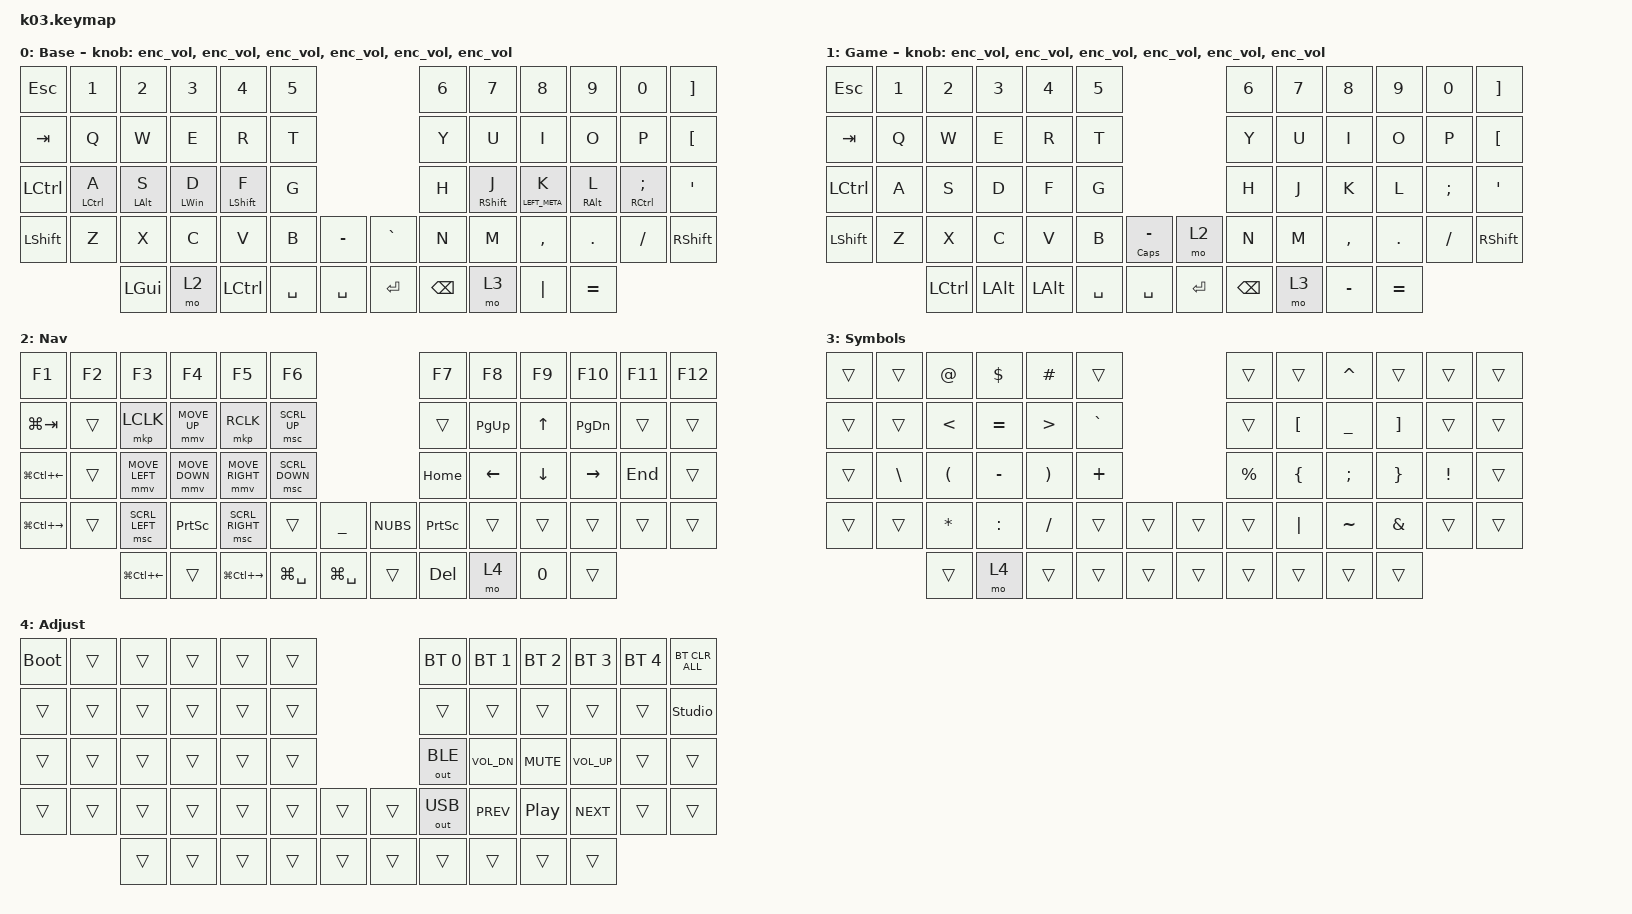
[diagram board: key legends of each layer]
#include "keys_ru.h"
#include <behaviors.dtsi>
#include <dt-bindings/zmk/bt.h>
#include <dt-bindings/zmk/keys.h>
#include <dt-bindings/zmk/outputs.h>
#include <dt-bindings/zmk/pointing.h>

/ {
    behaviors {
        enc_vol: enc_vol {
            compatible = "zmk,behavior-sensor-rotate";
            label = "ENC_VOL";
            #sensor-binding-cells = <0>;
            bindings = <&kp C_VOL_UP>, <&kp C_VOL_DN>;
        };

        hml: home_row_mod_left {
            compatible = "zmk,behavior-hold-tap";
            #binding-cells = <2>;
            flavor = "balanced";
            require-prior-idle-ms = <100>;
            tapping-term-ms = <200>;
            quick-tap-ms = <175>;
            bindings = <&kp>, <&kp>;

            hold-trigger-key-positions = <31 32 33 34>;
        };

        hmr: home_row_mod_right {
            compatible = "zmk,behavior-hold-tap";
            #binding-cells = <2>;
            flavor = "balanced";
            require-prior-idle-ms = <100>;
            tapping-term-ms = <200>;
            quick-tap-ms = <175>;
            bindings = <&kp>, <&kp>;

            hold-trigger-key-positions = <28 27 26 25>;
        };
    };

    combos {
        compatible = "zmk,combos";

        ruen {
            bindings = <&kp LG(SPACE)>;
            key-positions = <41 42>;
        };

        game {
            bindings = <&tog 1>;
            key-positions = <42 43>;
        };
    };

    keymap {
        compatible = "zmk,keymap";

        base {
            bindings = <
&kp ESC    &kp N1              &kp N2          &kp N3          &kp N4            &kp N5                             &kp N6    &kp N7             &kp N8           &kp N9           &kp N0          &kp RIGHT_BRACKET
&kp TAB    &kp Q               &kp W           &kp E           &kp R             &kp T                              &kp Y     &kp U              &kp I            &kp O            &kp P           &kp LEFT_BRACKET
&kp LCTRL  &mt LEFT_CONTROL A  &mt LEFT_ALT S  &mt LEFT_WIN D  &mt LEFT_SHIFT F  &kp G                              &kp H     &mt RIGHT_SHIFT J  &mt LEFT_META K  &mt RIGHT_ALT L  &mt RCTRL SEMI  &kp SQT
&kp LSHFT  &kp Z               &kp X           &kp C           &kp V             &kp B      &kp MINUS    &kp GRAVE  &kp N     &kp M              &kp COMMA        &kp DOT          &kp FSLH        &kp RSHFT
                               &kp LGUI        &mo 2           &kp LCTRL         &kp SPACE  &kp SPACE    &kp ENTER  &kp BSPC  &mo 3              &kp PIPE         &kp EQUAL
            >;

            display-name = "Base";
            sensor-bindings =
                <&enc_vol>,
                <&enc_vol>,
                <&enc_vol>,
                <&enc_vol>,
                <&enc_vol>,
                <&enc_vol>;
        };

        game {
            display-name = "Game";
            bindings = <
&kp ESC    &kp N1  &kp N2     &kp N3        &kp N4        &kp N5                                  &kp N6    &kp N7  &kp N8     &kp N9     &kp N0    &kp RIGHT_BRACKET
&kp TAB    &kp Q   &kp W      &kp E         &kp R         &kp T                                   &kp Y     &kp U   &kp I      &kp O      &kp P     &kp LEFT_BRACKET
&kp LCTRL  &kp A   &kp S      &kp D         &kp F         &kp G                                   &kp H     &kp J   &kp K      &kp L      &kp SEMI  &kp SQT
&kp LSHFT  &kp Z   &kp X      &kp C         &kp V         &kp B      &mt CLCK MINUS    &mo 2      &kp N     &kp M   &kp COMMA  &kp DOT    &kp FSLH  &kp RSHFT
                   &kp LCTRL  &kp LEFT_ALT  &kp LEFT_ALT  &kp SPACE  &kp SPACE         &kp ENTER  &kp BSPC  &mo 3   &kp MINUS  &kp EQUAL
            >;

            sensor-bindings =
                <&enc_vol>,
                <&enc_vol>,
                <&enc_vol>,
                <&enc_vol>,
                <&enc_vol>,
                <&enc_vol>;
        };

        nav {
            bindings = <
&kp F1                   &kp F2  &kp F3                  &kp F4           &kp F5                   &kp F6                                     &kp F7           &kp F8          &kp F9          &kp F10          &kp F11  &kp F12
&kp LG(TAB)              &trans  &mkp LCLK               &mmv MOVE_UP     &mkp RCLK                &msc SCRL_UP                               &trans           &kp PAGE_UP     &kp UP_ARROW    &kp PAGE_DOWN    &trans   &trans
&kp LG(LC(LEFT_ARROW))   &trans  &mmv MOVE_LEFT          &mmv MOVE_DOWN   &mmv MOVE_RIGHT          &msc SCRL_DOWN                             &kp HOME         &kp LEFT_ARROW  &kp DOWN_ARROW  &kp RIGHT_ARROW  &kp END  &trans
&kp LG(LC(RIGHT_ARROW))  &trans  &msc SCRL_LEFT          &kp PRINTSCREEN  &msc SCRL_RIGHT          &trans          &kp UNDER        &kp NUBS  &kp PRINTSCREEN  &trans          &trans          &trans           &trans   &trans
                                 &kp LG(LC(LEFT_ARROW))  &trans           &kp LG(LC(RIGHT_ARROW))  &kp LG(SPACE)   &kp LG(SPACE)    &trans    &kp DELETE       &mo 4           &kp N0          &trans
            >;

            display-name = "Nav";
        };

        sym {
            bindings = <
&trans  &trans    &kp AT    &kp DLLR   &kp HASH  &trans                       &trans     &trans    &kp CARET  &trans    &trans    &trans
&trans  &trans    &kp LT    &kp EQUAL  &kp GT    &kp GRAVE                    &trans     &kp LBKT  &kp UNDER  &kp RBKT  &trans    &trans
&trans  &kp BSLH  &kp LPAR  &kp MINUS  &kp RPAR  &kp PLUS                     &kp PRCNT  &kp LBRC  &kp SEMI   &kp RBRC  &kp EXCL  &trans
&trans  &trans    &kp STAR  &kp COLON  &kp FSLH  &trans     &trans    &trans  &trans     &kp PIPE  &kp TILDE  &kp AMPS  &trans    &trans
                  &trans    &mo 4      &trans    &trans     &trans    &trans  &trans     &trans    &trans     &trans
            >;

            display-name = "Symbols";
        };

        adj {
            bindings = <
&bootloader  &trans  &trans  &trans  &trans  &trans                    &bt BT_SEL 0  &bt BT_SEL 1  &bt BT_SEL 2      &bt BT_SEL 3  &bt BT_SEL 4  &bt BT_CLR_ALL
&trans       &trans  &trans  &trans  &trans  &trans                    &trans        &trans        &trans            &trans        &trans        &studio_unlock
&trans       &trans  &trans  &trans  &trans  &trans                    &out OUT_BLE  &kp C_VOL_DN  &kp K_MUTE        &kp C_VOL_UP  &trans        &trans
&trans       &trans  &trans  &trans  &trans  &trans  &trans    &trans  &out OUT_USB  &kp C_PREV    &kp C_PLAY_PAUSE  &kp C_NEXT    &trans        &trans
                     &trans  &trans  &trans  &trans  &trans    &trans  &trans        &trans        &trans            &trans
            >;

            display-name = "Adjust";
        };
    };
};
